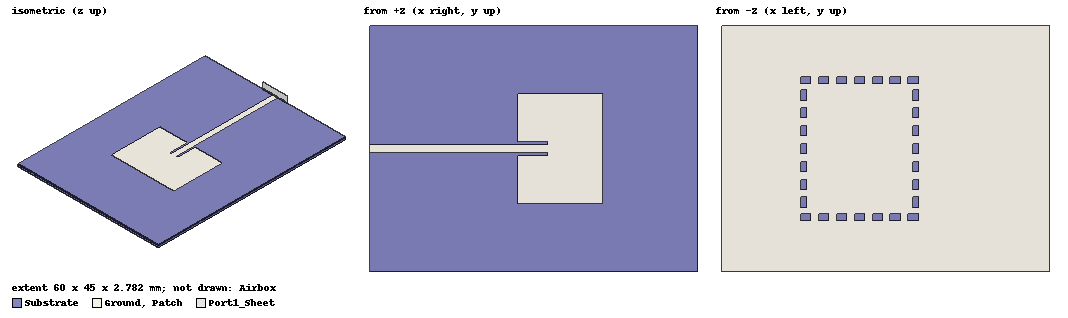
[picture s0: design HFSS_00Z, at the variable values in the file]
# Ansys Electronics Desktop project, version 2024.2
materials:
  vacuum: permittivity=1
  RO4350B: permittivity=3.48 permeability=1 dielectric_loss_tangent=0.0037
  pec: conductivity=1e+30
  air: permittivity=1.0006 permeability=1.0000004

design HFSS_00Z (HFSS, HFSS Terminal Network, model units mm)
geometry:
  Substrate [RO4350B] = box(corner=(-30mm, -22.5mm, 0mm), size=(60mm, 45mm, 0.762mm))
  Ground [pec] = rectangle(corner=(-30mm, -22.5mm, 0mm), x_size=60mm, y_size=45mm)
  Patch [pec] = rectangle(corner=(-2.99995mm, -10.01535mm, 0.762mm), x_size=15.5383mm, y_size=20.0307mm)
  Feed = rectangle(corner=(-30mm, -0.7991mm, 0.762mm), x_size=32.58775mm, y_size=1.5982mm)
  Patch.unite(Feed)
  TopCut_0_inset_gap_top = rectangle(corner=(-2.99995mm, 0.7991mm, 0.762mm), x_size=5.5877mm, y_size=0.4795mm)
  TopCut_1_inset_gap_bottom = rectangle(corner=(-2.99995mm, -1.2786mm, 0.762mm), x_size=5.5877mm, y_size=0.4795mm)
  Patch.subtract(TopCut_0_inset_gap_top, TopCut_1_inset_gap_bottom)
  GroundCut_0_ebg_0 = rectangle(corner=(-6.0308796mm, -13.094754mm, 0mm), x_size=1.9408537mm, y_size=1.1588083mm)
  GroundCut_1_ebg_1 = rectangle(corner=(-2.7543287mm, -13.094754mm, 0mm), x_size=1.9408537mm, y_size=1.1588083mm)
  GroundCut_2_ebg_2 = rectangle(corner=(0.52222222mm, -13.094754mm, 0mm), x_size=1.9408537mm, y_size=1.1588083mm)
  GroundCut_3_ebg_3 = rectangle(corner=(3.7987732mm, -13.094754mm, 0mm), x_size=1.9408537mm, y_size=1.1588083mm)
  GroundCut_4_ebg_4 = rectangle(corner=(7.0753241mm, -13.094754mm, 0mm), x_size=1.9408537mm, y_size=1.1588083mm)
  GroundCut_5_ebg_5 = rectangle(corner=(10.351875mm, -13.094754mm, 0mm), x_size=1.9408537mm, y_size=1.1588083mm)
  GroundCut_6_ebg_6 = rectangle(corner=(13.628426mm, -13.094754mm, 0mm), x_size=1.9408537mm, y_size=1.1588083mm)
  GroundCut_7_ebg_7 = rectangle(corner=(-6.0308796mm, 11.935946mm, 0mm), x_size=1.9408537mm, y_size=1.1588083mm)
  GroundCut_8_ebg_8 = rectangle(corner=(-2.7543287mm, 11.935946mm, 0mm), x_size=1.9408537mm, y_size=1.1588083mm)
  GroundCut_9_ebg_9 = rectangle(corner=(0.52222222mm, 11.935946mm, 0mm), x_size=1.9408537mm, y_size=1.1588083mm)
  GroundCut_10_ebg_10 = rectangle(corner=(3.7987732mm, 11.935946mm, 0mm), x_size=1.9408537mm, y_size=1.1588083mm)
  GroundCut_11_ebg_11 = rectangle(corner=(7.0753241mm, 11.935946mm, 0mm), x_size=1.9408537mm, y_size=1.1588083mm)
  GroundCut_12_ebg_12 = rectangle(corner=(10.351875mm, 11.935946mm, 0mm), x_size=1.9408537mm, y_size=1.1588083mm)
  GroundCut_13_ebg_13 = rectangle(corner=(13.628426mm, 11.935946mm, 0mm), x_size=1.9408537mm, y_size=1.1588083mm)
  GroundCut_14_ebg_14 = rectangle(corner=(-6.0793542mm, -10.80008mm, 0mm), x_size=1.1588083mm, y_size=1.9408537mm)
  GroundCut_15_ebg_15 = rectangle(corner=(-6.0793542mm, -7.5235287mm, 0mm), x_size=1.1588083mm, y_size=1.9408537mm)
  GroundCut_16_ebg_16 = rectangle(corner=(-6.0793542mm, -4.2469778mm, 0mm), x_size=1.1588083mm, y_size=1.9408537mm)
  GroundCut_17_ebg_17 = rectangle(corner=(-6.0793542mm, -0.97042684mm, 0mm), x_size=1.1588083mm, y_size=1.9408537mm)
  GroundCut_18_ebg_18 = rectangle(corner=(-6.0793542mm, 2.3061241mm, 0mm), x_size=1.1588083mm, y_size=1.9408537mm)
  GroundCut_19_ebg_19 = rectangle(corner=(-6.0793542mm, 5.582675mm, 0mm), x_size=1.1588083mm, y_size=1.9408537mm)
  GroundCut_20_ebg_20 = rectangle(corner=(-6.0793542mm, 8.859226mm, 0mm), x_size=1.1588083mm, y_size=1.9408537mm)
  GroundCut_21_ebg_21 = rectangle(corner=(14.458946mm, -10.80008mm, 0mm), x_size=1.1588083mm, y_size=1.9408537mm)
  GroundCut_22_ebg_22 = rectangle(corner=(14.458946mm, -7.5235287mm, 0mm), x_size=1.1588083mm, y_size=1.9408537mm)
  GroundCut_23_ebg_23 = rectangle(corner=(14.458946mm, -4.2469778mm, 0mm), x_size=1.1588083mm, y_size=1.9408537mm)
  GroundCut_24_ebg_24 = rectangle(corner=(14.458946mm, -0.97042684mm, 0mm), x_size=1.1588083mm, y_size=1.9408537mm)
  GroundCut_25_ebg_25 = rectangle(corner=(14.458946mm, 2.3061241mm, 0mm), x_size=1.1588083mm, y_size=1.9408537mm)
  GroundCut_26_ebg_26 = rectangle(corner=(14.458946mm, 5.582675mm, 0mm), x_size=1.1588083mm, y_size=1.9408537mm)
  GroundCut_27_ebg_27 = rectangle(corner=(14.458946mm, 8.859226mm, 0mm), x_size=1.1588083mm, y_size=1.9408537mm)
  Ground.subtract(GroundCut_0_ebg_0, GroundCut_1_ebg_1, GroundCut_2_ebg_2, GroundCut_3_ebg_3, GroundCut_4_ebg_4, GroundCut_5_ebg_5, GroundCut_6_ebg_6, GroundCut_7_ebg_7, GroundCut_8_ebg_8, GroundCut_9_ebg_9, GroundCut_10_ebg_10, GroundCut_11_ebg_11, GroundCut_12_ebg_12, GroundCut_13_ebg_13, GroundCut_14_ebg_14, GroundCut_15_ebg_15, GroundCut_16_ebg_16, GroundCut_17_ebg_17, GroundCut_18_ebg_18, GroundCut_19_ebg_19, GroundCut_20_ebg_20, GroundCut_21_ebg_21, GroundCut_22_ebg_22, GroundCut_23_ebg_23, GroundCut_24_ebg_24, GroundCut_25_ebg_25, GroundCut_26_ebg_26, GroundCut_27_ebg_27)
  Airbox [air] = box(corner=(-30mm, -42.5mm, -20mm), size=(80mm, 85mm, 40.762mm))
  Port1_Sheet = rectangle(corner=(-30mm, -3.9955mm, -0.02mm), y_size=7.991mm, z_size=2.782mm)
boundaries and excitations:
  Copper_PEC: Perfect E Objects=[Ground, Patch]
  Radiation: Radiation Objects=Airbox
  Port1: Wave Port Objects=Port1_Sheet WavePortType=Modal NumModes=1 Modes{Mode1{CharImp=Zpi RenormImp=50ohm}}
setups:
  Setup1: HfssDriven Frequency=5GHz MaxDeltaS=0.02 MaximumPasses=10 MinimumPasses=1 MinimumConvergedPasses=1 PercentRefinement=30 BasisOrder=1 PortAccuracy=2 DrivenSolverType="Direct Solver"
    sweep Sweep_4_6GHz: 4GHz to 6GHz, 101 points; Type=Interpolating SaveRadFields InterpTolerance=0.5 InterpMaxSolns=250 InterpUsePortImped=false PassivityErrorTolerance=0.0001
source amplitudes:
  Port1:1: 1V 0deg
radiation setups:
  InfiniteSphere_EH_Cuts: Infinite Sphere Theta=-180deg..180deg step 1deg Phi=-90deg..90deg step 90deg
